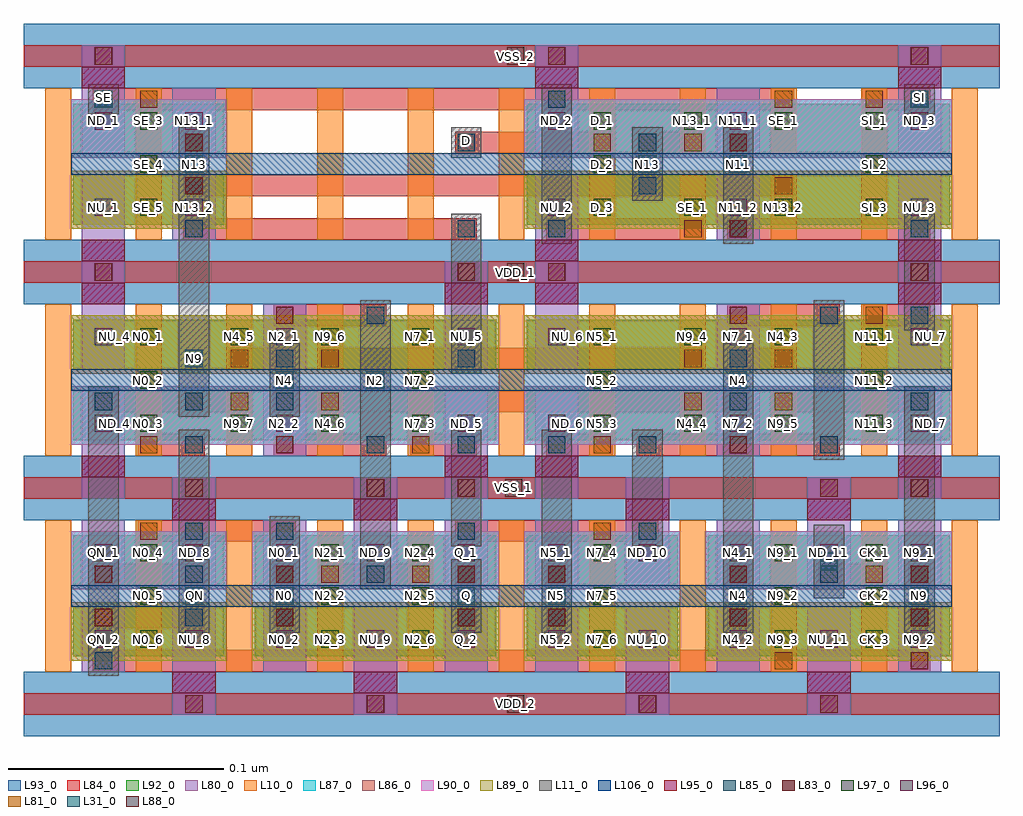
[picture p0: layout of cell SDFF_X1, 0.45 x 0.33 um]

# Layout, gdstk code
import gdstk
lib = gdstk.Library(unit=1e-6, precision=1e-09)
def R(c, l, rs):  # rectangles x0, y0, x1, y1
    for r in rs: c.add(gdstk.rectangle(r[:2], r[2:], *l))
def A(c, l, x, y, w, h, nx, ny, dx, dy):  # array of equal rectangles
    R(c, l, [(x+i*dx, y+j*dy, x+i*dx+w, y+j*dy+h) for i in range(nx) for j in range(ny)])
L10_0 = (10, 0)
L11_0 = (11, 0)
L31_0 = (31, 0)
L80_0 = (80, 0)
L81_0 = (81, 0)
L83_0 = (83, 0)
L84_0 = (84, 0)
L85_0 = (85, 0)
L86_0 = (86, 0)
L87_0 = (87, 0)
L88_0 = (88, 0)
L89_0 = (89, 0)
L90_0 = (90, 0)
L92_0 = (92, 0)
L93_0 = (93, 0)
L95_0 = (95, 0)
L96_0 = (96, 0)
L97_0 = (97, 0)
L106_0 = (106, 0)

sdff_x1 = lib.new_cell('SDFF_X1')
A(sdff_x1, L10_0, -0.006, 0.015, 0.012, 0.07, 11, 1, 0.042, 0)
A(sdff_x1, L10_0, 0.162, 0.115, 0.012, 0.07, 3, 1, 0.042, 0)
A(sdff_x1, L10_0, -0.006, 0.215, 0.012, 0.07, 7, 1, 0.042, 0)
R(sdff_x1, L10_0, [(-0.006,0.115,0.006,0.185), (0.036,0.115,0.048,0.185), (0.078,0.115,0.09,0.145), (0.12,0.115,0.132,0.145), (0.162,0.115,0.174,0.185), (0.288,0.115,0.3,0.145), (0.33,0.115,0.342,0.145), (0.372,0.115,0.384,0.185), (0.372,0.115,0.384,0.185), (0.414,0.115,0.426,0.185), (0.078,0.155,0.09,0.185), (0.12,0.155,0.132,0.185), (0.12,0.155,0.132,0.185), (0.288,0.155,0.3,0.185), (0.33,0.155,0.342,0.185), (0.33,0.155,0.342,0.185), (0.288,0.215,0.3,0.245), (0.33,0.215,0.342,0.245), (0.372,0.215,0.384,0.285), (0.372,0.215,0.384,0.285), (0.414,0.215,0.426,0.285), (0.288,0.255,0.3,0.285), (0.33,0.255,0.342,0.285), (0.33,0.255,0.342,0.285)])
R(sdff_x1, L11_0, [(0.014,0.013,0.028,0.147), (0.056,0.033,0.07,0.067), (0.098,0.033,0.112,0.067), (0.098,0.033,0.112,0.087), (0.182,0.033,0.196,0.067), (0.182,0.033,0.196,0.067), (0.224,0.033,0.238,0.067), (0.224,0.033,0.238,0.067), (0.308,0.033,0.322,0.067), (0.308,0.033,0.322,0.067), (0.392,0.033,0.406,0.067), (0.392,0.033,0.406,0.147), (0.35,0.049,0.364,0.083), (0.14,0.053,0.154,0.187), (0.224,0.065,0.238,0.127), (0.308,0.066,0.322,0.143), (0.056,0.073,0.07,0.127), (0.182,0.073,0.196,0.127), (0.266,0.073,0.28,0.127), (0.35,0.113,0.364,0.187), (0.056,0.133,0.07,0.227), (0.098,0.133,0.112,0.167), (0.098,0.133,0.112,0.167), (0.14,0.133,0.154,0.167), (0.308,0.133,0.322,0.167), (0.308,0.133,0.322,0.167), (0.182,0.153,0.196,0.227), (0.392,0.173,0.406,0.227), (0.224,0.213,0.238,0.287), (0.308,0.213,0.322,0.267), (0.056,0.233,0.07,0.267), (0.266,0.233,0.28,0.267), (0.182,0.253,0.196,0.267), (0.014,0.273,0.028,0.287), (0.392,0.273,0.406,0.287)])
A(sdff_x1, L31_0, 0.227, 0.046, 0.008, 0.008, 3, 1, 0.084, 0)
R(sdff_x1, L31_0, [(0.059,0.046,0.067,0.054), (0.101,0.046,0.109,0.054), (0.185,0.046,0.193,0.054), (0.353,0.062,0.361,0.07), (0.101,0.146,0.109,0.154), (0.143,0.146,0.151,0.154), (0.311,0.146,0.319,0.154), (0.059,0.156,0.067,0.164), (0.059,0.246,0.067,0.254), (0.269,0.246,0.277,0.254), (0.311,0.246,0.319,0.254), (0.017,0.276,0.025,0.284), (0.395,0.276,0.403,0.284)])
A(sdff_x1, L80_0, 0.011, 0.015, 0.02, 0.03, 10, 2, 0.042, 0.04)
A(sdff_x1, L80_0, 0.011, 0.115, 0.02, 0.03, 3, 2, 0.084, 0.04)
A(sdff_x1, L80_0, 0.221, 0.115, 0.02, 0.03, 3, 2, 0.084, 0.04)
A(sdff_x1, L80_0, 0.011, 0.175, 0.02, 0.03, 1, 3, 0, 0.02)
A(sdff_x1, L80_0, 0.221, 0.215, 0.02, 0.03, 3, 2, 0.084, 0.04)
R(sdff_x1, L80_0, [(0.053,-0.005,0.073,0.025), (0.137,-0.005,0.157,0.025), (0.263,-0.005,0.283,0.025), (0.347,-0.005,0.367,0.025), (0.053,0.075,0.073,0.105), (0.137,0.075,0.157,0.105), (0.263,0.075,0.283,0.105), (0.347,0.075,0.367,0.105), (0.011,0.095,0.031,0.125), (0.179,0.095,0.199,0.125), (0.221,0.095,0.241,0.125), (0.389,0.095,0.409,0.125), (0.179,0.175,0.199,0.205), (0.221,0.175,0.241,0.205), (0.389,0.175,0.409,0.205), (0.221,0.195,0.241,0.225), (0.221,0.195,0.241,0.225), (0.389,0.195,0.409,0.225), (0.053,0.215,0.073,0.245), (0.011,0.255,0.031,0.285), (0.053,0.255,0.073,0.285), (0.011,0.275,0.031,0.305), (0.221,0.275,0.241,0.305), (0.389,0.275,0.409,0.305)])
R(sdff_x1, L81_0, [(0.332,0.016,0.34,0.024), (0.122,0.056,0.13,0.064), (0.164,0.056,0.172,0.064), (0.374,0.056,0.382,0.064), (0.038,0.076,0.046,0.084), (0.248,0.076,0.256,0.084), (0.038,0.116,0.046,0.124), (0.038,0.116,0.046,0.124), (0.164,0.116,0.172,0.124), (0.248,0.116,0.256,0.124), (0.248,0.116,0.256,0.124), (0.248,0.116,0.256,0.124), (0.08,0.136,0.088,0.144), (0.122,0.136,0.13,0.144), (0.122,0.136,0.13,0.144), (0.29,0.136,0.298,0.144), (0.332,0.136,0.34,0.144), (0.08,0.156,0.088,0.164), (0.08,0.156,0.088,0.164), (0.122,0.156,0.13,0.164), (0.29,0.156,0.298,0.164), (0.332,0.156,0.34,0.164), (0.332,0.156,0.34,0.164), (0.374,0.176,0.382,0.184), (0.29,0.216,0.298,0.224), (0.29,0.216,0.298,0.224), (0.332,0.236,0.34,0.244), (0.332,0.236,0.34,0.244), (0.248,0.256,0.256,0.264), (0.29,0.256,0.298,0.264), (0.038,0.276,0.046,0.284), (0.332,0.276,0.34,0.284), (0.374,0.276,0.382,0.284)])
A(sdff_x1, L83_0, 0.101, 0.056, 0.008, 0.008, 1, 3, 0, 0.06)
A(sdff_x1, L83_0, 0.311, 0.056, 0.008, 0.008, 1, 3, 0, 0.06)
R(sdff_x1, L83_0, [(0.059,-0.004,0.067,0.004), (0.143,-0.004,0.151,0.004), (0.269,-0.004,0.277,0.004), (0.353,-0.004,0.361,0.004), (0.353,-0.004,0.361,0.004), (0.353,-0.004,0.361,0.004), (0.353,-0.004,0.361,0.004), (0.395,0.016,0.403,0.024), (0.395,0.016,0.403,0.024), (0.017,0.036,0.025,0.044), (0.017,0.036,0.025,0.044), (0.101,0.036,0.109,0.044), (0.101,0.036,0.109,0.044), (0.185,0.036,0.193,0.044), (0.185,0.036,0.193,0.044), (0.227,0.036,0.235,0.044), (0.227,0.036,0.235,0.044), (0.311,0.036,0.319,0.044), (0.311,0.036,0.319,0.044), (0.395,0.036,0.403,0.044), (0.395,0.036,0.403,0.044), (0.017,0.056,0.025,0.064), (0.017,0.056,0.025,0.064), (0.101,0.056,0.109,0.064), (0.185,0.056,0.193,0.064), (0.185,0.056,0.193,0.064), (0.227,0.056,0.235,0.064), (0.227,0.056,0.235,0.064), (0.311,0.056,0.319,0.064), (0.395,0.056,0.403,0.064), (0.059,0.096,0.067,0.104), (0.143,0.096,0.151,0.104), (0.143,0.096,0.151,0.104), (0.143,0.096,0.151,0.104), (0.143,0.096,0.151,0.104), (0.185,0.096,0.193,0.104), (0.185,0.096,0.193,0.104), (0.185,0.096,0.193,0.104), (0.185,0.096,0.193,0.104), (0.353,0.096,0.361,0.104), (0.395,0.096,0.403,0.104), (0.395,0.096,0.403,0.104), (0.395,0.096,0.403,0.104), (0.395,0.096,0.403,0.104), (0.017,0.196,0.025,0.204), (0.017,0.196,0.025,0.204), (0.185,0.196,0.193,0.204), (0.227,0.196,0.235,0.204), (0.227,0.196,0.235,0.204), (0.227,0.196,0.235,0.204), (0.395,0.196,0.403,0.204), (0.395,0.196,0.403,0.204), (0.311,0.216,0.319,0.224), (0.059,0.236,0.067,0.244), (0.059,0.256,0.067,0.264), (0.311,0.256,0.319,0.264), (0.017,0.296,0.025,0.304), (0.227,0.296,0.235,0.304), (0.395,0.296,0.403,0.304)])
A(sdff_x1, L84_0, -0.016, -0.005, 0.452, 0.01, 1, 4, 0, 0.1)
A(sdff_x1, L84_0, 0.016, 0.055, 0.01, 0.01, 3, 1, 0.084, 0)
R(sdff_x1, L84_0, [(0.016,0.015,0.341,0.025), (0.331,0.015,0.404,0.025), (0.016,0.035,0.068,0.045), (0.1,0.035,0.11,0.045), (0.1,0.035,0.11,0.045), (0.184,0.035,0.194,0.045), (0.184,0.035,0.194,0.045), (0.226,0.035,0.236,0.045), (0.31,0.035,0.32,0.045), (0.31,0.035,0.32,0.045), (0.394,0.035,0.404,0.045), (0.394,0.035,0.404,0.045), (0.016,0.055,0.068,0.065), (0.121,0.055,0.173,0.065), (0.184,0.055,0.194,0.065), (0.226,0.055,0.236,0.065), (0.226,0.055,0.236,0.065), (0.31,0.055,0.32,0.065), (0.31,0.055,0.32,0.065), (0.352,0.055,0.383,0.065), (0.394,0.055,0.404,0.065), (0.037,0.075,0.089,0.085), (0.058,0.075,0.11,0.085), (0.184,0.075,0.257,0.085), (0.205,0.075,0.278,0.085), (0.037,0.115,0.068,0.125), (0.1,0.115,0.152,0.125), (0.163,0.115,0.194,0.125), (0.226,0.115,0.257,0.125), (0.268,0.115,0.362,0.125), (0.016,0.135,0.089,0.145), (0.1,0.135,0.29,0.145), (0.289,0.135,0.32,0.145), (0.331,0.135,0.404,0.145), (0.079,0.155,0.11,0.165), (0.121,0.155,0.299,0.165), (0.31,0.155,0.341,0.165), (0.1,0.175,0.152,0.185), (0.31,0.175,0.362,0.185), (0.373,0.175,0.404,0.185), (0.058,0.215,0.194,0.225), (0.226,0.215,0.299,0.225), (0.31,0.215,0.404,0.225), (0.058,0.235,0.068,0.245), (0.058,0.235,0.278,0.245), (0.268,0.235,0.341,0.245), (0.058,0.255,0.068,0.265), (0.184,0.255,0.257,0.265), (0.268,0.255,0.299,0.265), (0.31,0.255,0.32,0.265), (0.016,0.275,0.047,0.285), (0.037,0.275,0.341,0.285), (0.372,0.275,0.404,0.285)])
A(sdff_x1, L85_0, 0.059, 0.036, 0.008, 0.008, 1, 3, 0, 0.02)
A(sdff_x1, L85_0, 0.101, 0.036, 0.008, 0.008, 1, 3, 0, 0.02)
A(sdff_x1, L85_0, 0.185, 0.036, 0.008, 0.008, 1, 3, 0, 0.02)
A(sdff_x1, L85_0, 0.101, 0.056, 0.008, 0.008, 3, 1, 0.042, 0)
A(sdff_x1, L85_0, 0.311, 0.056, 0.008, 0.008, 3, 1, 0.042, 0)
A(sdff_x1, L85_0, 0.143, 0.116, 0.008, 0.008, 4, 1, 0.042, 0)
A(sdff_x1, L85_0, 0.017, 0.136, 0.008, 0.008, 3, 1, 0.042, 0)
A(sdff_x1, L85_0, 0.059, 0.216, 0.008, 0.008, 1, 3, 0, 0.02)
A(sdff_x1, L85_0, 0.227, 0.216, 0.008, 0.008, 3, 1, 0.084, 0)
R(sdff_x1, L85_0, [(0.017,0.016,0.025,0.024), (0.101,0.036,0.109,0.044), (0.185,0.036,0.193,0.044), (0.227,0.036,0.235,0.044), (0.227,0.036,0.235,0.044), (0.311,0.036,0.319,0.044), (0.311,0.036,0.319,0.044), (0.395,0.036,0.403,0.044), (0.395,0.036,0.403,0.044), (0.227,0.056,0.235,0.064), (0.227,0.056,0.235,0.064), (0.311,0.056,0.319,0.064), (0.059,0.076,0.067,0.084), (0.185,0.076,0.193,0.084), (0.185,0.076,0.193,0.084), (0.269,0.076,0.277,0.084), (0.059,0.116,0.067,0.124), (0.353,0.116,0.361,0.124), (0.101,0.136,0.109,0.144), (0.311,0.136,0.319,0.144), (0.311,0.136,0.319,0.144), (0.395,0.136,0.403,0.144), (0.101,0.156,0.109,0.164), (0.101,0.156,0.109,0.164), (0.185,0.156,0.193,0.164), (0.311,0.156,0.319,0.164), (0.311,0.156,0.319,0.164), (0.143,0.176,0.151,0.184), (0.353,0.176,0.361,0.184), (0.395,0.176,0.403,0.184), (0.185,0.216,0.193,0.224), (0.269,0.236,0.277,0.244), (0.185,0.256,0.193,0.264), (0.185,0.256,0.193,0.264), (0.269,0.256,0.277,0.264), (0.311,0.256,0.319,0.264), (0.017,0.276,0.025,0.284), (0.017,0.276,0.025,0.284), (0.227,0.276,0.235,0.284), (0.395,0.276,0.403,0.284)])
R(sdff_x1, L86_0, [(0.006,0.02,0.078,0.047), (0.09,0.02,0.204,0.047), (0.216,0.02,0.288,0.047), (0.3,0.02,0.414,0.047), (0.006,0.153,0.204,0.18), (0.216,0.153,0.414,0.18), (0.006,0.22,0.078,0.247), (0.216,0.22,0.414,0.247)])
R(sdff_x1, L87_0, [(0.006,0.053,0.078,0.08), (0.09,0.053,0.204,0.08), (0.216,0.053,0.288,0.08), (0.3,0.053,0.414,0.08), (0.006,0.12,0.204,0.147), (0.216,0.12,0.414,0.147), (0.006,0.253,0.078,0.28), (0.216,0.253,0.414,0.28)])
R(sdff_x1, L88_0, [(0.208,-0.004,0.216,0.004), (0.207,0.096,0.215,0.104), (0.208,0.196,0.216,0.204), (0.208,0.296,0.216,0.304)])
R(sdff_x1, L89_0, [(0.006,0.02,0.078,0.047), (0.09,0.02,0.204,0.047), (0.216,0.02,0.288,0.047), (0.3,0.02,0.414,0.047), (0.006,0.153,0.204,0.18), (0.216,0.153,0.414,0.18), (0.006,0.22,0.078,0.247), (0.216,0.22,0.414,0.247)])
R(sdff_x1, L90_0, [(0.006,0.053,0.078,0.08), (0.09,0.053,0.204,0.08), (0.216,0.053,0.288,0.08), (0.3,0.053,0.414,0.08), (0.006,0.12,0.204,0.147), (0.216,0.12,0.414,0.147), (0.006,0.253,0.078,0.28), (0.216,0.253,0.414,0.28)])
R(sdff_x1, L92_0, [(0.007,0.022,0.077,0.045), (0.091,0.022,0.203,0.045), (0.217,0.022,0.287,0.045), (0.301,0.022,0.413,0.045), (0.007,0.055,0.077,0.078), (0.091,0.055,0.203,0.078), (0.217,0.055,0.287,0.078), (0.301,0.055,0.413,0.078), (0.007,0.122,0.203,0.145), (0.217,0.122,0.413,0.145), (0.007,0.155,0.203,0.178), (0.217,0.155,0.413,0.178), (0.007,0.222,0.077,0.245), (0.217,0.222,0.413,0.245), (0.007,0.255,0.077,0.278), (0.217,0.255,0.413,0.278)])
A(sdff_x1, L93_0, -0.016, -0.015, 0.452, 0.03, 1, 4, 0, 0.1)
R(sdff_x1, L95_0, [(0.053,0.005,0.073,0.015), (0.137,0.005,0.157,0.015), (0.263,0.005,0.283,0.015), (0.347,0.005,0.367,0.015), (0.053,0.085,0.073,0.095), (0.137,0.085,0.157,0.095), (0.263,0.085,0.283,0.095), (0.347,0.085,0.367,0.095), (0.011,0.105,0.031,0.115), (0.179,0.105,0.199,0.115), (0.221,0.105,0.241,0.115), (0.389,0.105,0.409,0.115), (0.011,0.185,0.031,0.195), (0.179,0.185,0.199,0.195), (0.221,0.185,0.241,0.195), (0.389,0.185,0.409,0.195), (0.011,0.205,0.031,0.215), (0.221,0.205,0.241,0.215), (0.221,0.205,0.241,0.215), (0.389,0.205,0.409,0.215), (0.011,0.285,0.031,0.295), (0.221,0.285,0.241,0.295), (0.389,0.285,0.409,0.295)])
A(sdff_x1, L96_0, 0.017, 0.026, 0.008, 0.008, 10, 2, 0.042, 0.04)
A(sdff_x1, L96_0, 0.017, 0.126, 0.008, 0.008, 3, 2, 0.084, 0.04)
A(sdff_x1, L96_0, 0.227, 0.126, 0.008, 0.008, 3, 2, 0.084, 0.04)
A(sdff_x1, L96_0, 0.227, 0.226, 0.008, 0.008, 3, 2, 0.084, 0.04)
R(sdff_x1, L96_0, [(0.017,0.226,0.025,0.234), (0.059,0.226,0.067,0.234), (0.017,0.266,0.025,0.274), (0.059,0.266,0.067,0.274)])
A(sdff_x1, L97_0, 0.038, 0.026, 0.008, 0.008, 1, 3, 0, 0.02)
A(sdff_x1, L97_0, 0.122, 0.026, 0.008, 0.008, 1, 3, 0, 0.02)
A(sdff_x1, L97_0, 0.164, 0.026, 0.008, 0.008, 3, 3, 0.084, 0.02)
A(sdff_x1, L97_0, 0.374, 0.026, 0.008, 0.008, 1, 3, 0, 0.02)
A(sdff_x1, L97_0, 0.038, 0.126, 0.008, 0.008, 4, 2, 0.042, 0.04)
A(sdff_x1, L97_0, 0.248, 0.126, 0.008, 0.008, 4, 2, 0.042, 0.04)
A(sdff_x1, L97_0, 0.038, 0.226, 0.008, 0.008, 1, 3, 0, 0.02)
A(sdff_x1, L97_0, 0.248, 0.226, 0.008, 0.008, 4, 2, 0.042, 0.04)
R(sdff_x1, L97_0, [(0.038,0.146,0.046,0.154), (0.164,0.146,0.172,0.154), (0.248,0.146,0.256,0.154), (0.374,0.146,0.382,0.154), (0.248,0.246,0.256,0.254), (0.374,0.246,0.382,0.254)])
A(sdff_x1, L106_0, 0.006, 0.045, 0.408, 0.01, 1, 3, 0, 0.1)
sdff_x1.add(gdstk.Label('N13_2', (0.336,0.23), layer=97, texttype=0))
sdff_x1.add(gdstk.Label('N11_2', (0.378,0.15), layer=97, texttype=0))
sdff_x1.add(gdstk.Label('N9_5', (0.336,0.13), layer=97, texttype=0))
sdff_x1.add(gdstk.Label('N4_3', (0.336,0.17), layer=97, texttype=0))
sdff_x1.add(gdstk.Label('N9_4', (0.294,0.17), layer=97, texttype=0))
sdff_x1.add(gdstk.Label('N4_4', (0.294,0.13), layer=97, texttype=0))
sdff_x1.add(gdstk.Label('N5_2', (0.252,0.15), layer=97, texttype=0))
sdff_x1.add(gdstk.Label('N4_5', (0.084,0.17), layer=97, texttype=0))
sdff_x1.add(gdstk.Label('N7_2', (0.168,0.15), layer=97, texttype=0))
sdff_x1.add(gdstk.Label('N9_7', (0.084,0.13), layer=97, texttype=0))
sdff_x1.add(gdstk.Label('N9_2', (0.336,0.05), layer=97, texttype=0))
sdff_x1.add(gdstk.Label('N9_6', (0.126,0.17), layer=97, texttype=0))
sdff_x1.add(gdstk.Label('CK_2', (0.378,0.05), layer=97, texttype=0))
sdff_x1.add(gdstk.Label('N0_5', (0.042,0.05), layer=97, texttype=0))
sdff_x1.add(gdstk.Label('N2_2', (0.126,0.05), layer=97, texttype=0))
sdff_x1.add(gdstk.Label('SE_5', (0.042,0.23), layer=97, texttype=0))
sdff_x1.add(gdstk.Label('SE_3', (0.042,0.27), layer=97, texttype=0))
sdff_x1.add(gdstk.Label('D_3', (0.252,0.23), layer=97, texttype=0))
sdff_x1.add(gdstk.Label('D_1', (0.252,0.27), layer=97, texttype=0))
sdff_x1.add(gdstk.Label('SI_1', (0.378,0.27), layer=97, texttype=0))
sdff_x1.add(gdstk.Label('SI_3', (0.378,0.23), layer=97, texttype=0))
sdff_x1.add(gdstk.Label('N11_1', (0.378,0.17), layer=97, texttype=0))
sdff_x1.add(gdstk.Label('N11_3', (0.378,0.13), layer=97, texttype=0))
sdff_x1.add(gdstk.Label('N5_1', (0.252,0.17), layer=97, texttype=0))
sdff_x1.add(gdstk.Label('N5_3', (0.252,0.13), layer=97, texttype=0))
sdff_x1.add(gdstk.Label('N7_3', (0.168,0.13), layer=97, texttype=0))
sdff_x1.add(gdstk.Label('N7_1', (0.168,0.17), layer=97, texttype=0))
sdff_x1.add(gdstk.Label('N0_1', (0.042,0.17), layer=97, texttype=0))
sdff_x1.add(gdstk.Label('N0_3', (0.042,0.13), layer=97, texttype=0))
sdff_x1.add(gdstk.Label('N0_4', (0.042,0.07), layer=97, texttype=0))
sdff_x1.add(gdstk.Label('N0_6', (0.042,0.03), layer=97, texttype=0))
sdff_x1.add(gdstk.Label('N2_3', (0.126,0.03), layer=97, texttype=0))
sdff_x1.add(gdstk.Label('N2_1', (0.126,0.07), layer=97, texttype=0))
sdff_x1.add(gdstk.Label('N2_6', (0.168,0.03), layer=97, texttype=0))
sdff_x1.add(gdstk.Label('N2_4', (0.168,0.07), layer=97, texttype=0))
sdff_x1.add(gdstk.Label('N7_4', (0.252,0.07), layer=97, texttype=0))
sdff_x1.add(gdstk.Label('N7_6', (0.252,0.03), layer=97, texttype=0))
sdff_x1.add(gdstk.Label('N9_1', (0.336,0.07), layer=97, texttype=0))
sdff_x1.add(gdstk.Label('N9_3', (0.336,0.03), layer=97, texttype=0))
sdff_x1.add(gdstk.Label('CK_1', (0.378,0.07), layer=97, texttype=0))
sdff_x1.add(gdstk.Label('CK_3', (0.378,0.03), layer=97, texttype=0))
sdff_x1.add(gdstk.Label('N4_6', (0.126,0.13), layer=97, texttype=0))
sdff_x1.add(gdstk.Label('N2_5', (0.168,0.05), layer=97, texttype=0))
sdff_x1.add(gdstk.Label('SE_1', (0.336,0.27), layer=97, texttype=0))
sdff_x1.add(gdstk.Label('N7_5', (0.252,0.05), layer=97, texttype=0))
sdff_x1.add(gdstk.Label('N0_2', (0.042,0.15), layer=97, texttype=0))
sdff_x1.add(gdstk.Label('SI_2', (0.378,0.25), layer=97, texttype=0))
sdff_x1.add(gdstk.Label('N13_1', (0.294,0.27), layer=97, texttype=0))
sdff_x1.add(gdstk.Label('SE_1', (0.294,0.23), layer=97, texttype=0))
sdff_x1.add(gdstk.Label('D_2', (0.252,0.25), layer=97, texttype=0))
sdff_x1.add(gdstk.Label('SE_4', (0.042,0.25), layer=97, texttype=0))
sdff_x1.add(gdstk.Label('NU_1', (0.021,0.23), layer=96, texttype=0))
sdff_x1.add(gdstk.Label('ND_3', (0.399,0.27), layer=96, texttype=0))
sdff_x1.add(gdstk.Label('NU_3', (0.399,0.23), layer=96, texttype=0))
sdff_x1.add(gdstk.Label('ND_2', (0.231,0.27), layer=96, texttype=0))
sdff_x1.add(gdstk.Label('NU_2', (0.231,0.23), layer=96, texttype=0))
sdff_x1.add(gdstk.Label('N11_1', (0.315,0.27), layer=96, texttype=0))
sdff_x1.add(gdstk.Label('N11_2', (0.315,0.23), layer=96, texttype=0))
sdff_x1.add(gdstk.Label('ND_5', (0.189,0.13), layer=96, texttype=0))
sdff_x1.add(gdstk.Label('NU_5', (0.189,0.17), layer=96, texttype=0))
sdff_x1.add(gdstk.Label('NU_9', (0.147,0.03), layer=96, texttype=0))
sdff_x1.add(gdstk.Label('N9_2', (0.399,0.03), layer=96, texttype=0))
sdff_x1.add(gdstk.Label('N9_1', (0.399,0.07), layer=96, texttype=0))
sdff_x1.add(gdstk.Label('NU_11', (0.357,0.03), layer=96, texttype=0))
sdff_x1.add(gdstk.Label('ND_11', (0.357,0.07), layer=96, texttype=0))
sdff_x1.add(gdstk.Label('Q_2', (0.189,0.03), layer=96, texttype=0))
sdff_x1.add(gdstk.Label('N0_2', (0.105,0.03), layer=96, texttype=0))
sdff_x1.add(gdstk.Label('ND_9', (0.147,0.07), layer=96, texttype=0))
sdff_x1.add(gdstk.Label('ND_8', (0.063,0.07), layer=96, texttype=0))
sdff_x1.add(gdstk.Label('N0_1', (0.105,0.07), layer=96, texttype=0))
sdff_x1.add(gdstk.Label('NU_4', (0.026,0.17), layer=96, texttype=0))
sdff_x1.add(gdstk.Label('N2_1', (0.105,0.17), layer=96, texttype=0))
sdff_x1.add(gdstk.Label('N2_2', (0.105,0.13), layer=96, texttype=0))
sdff_x1.add(gdstk.Label('ND_10', (0.273,0.07), layer=96, texttype=0))
sdff_x1.add(gdstk.Label('NU_10', (0.273,0.03), layer=96, texttype=0))
sdff_x1.add(gdstk.Label('ND_4', (0.026,0.13), layer=96, texttype=0))
sdff_x1.add(gdstk.Label('QN_1', (0.021,0.07), layer=96, texttype=0))
sdff_x1.add(gdstk.Label('QN_2', (0.021,0.03), layer=96, texttype=0))
sdff_x1.add(gdstk.Label('N5_1', (0.231,0.07), layer=96, texttype=0))
sdff_x1.add(gdstk.Label('N5_2', (0.231,0.03), layer=96, texttype=0))
sdff_x1.add(gdstk.Label('N7_2', (0.315,0.13), layer=96, texttype=0))
sdff_x1.add(gdstk.Label('N7_1', (0.315,0.17), layer=96, texttype=0))
sdff_x1.add(gdstk.Label('ND_6', (0.236,0.13), layer=96, texttype=0))
sdff_x1.add(gdstk.Label('NU_6', (0.236,0.17), layer=96, texttype=0))
sdff_x1.add(gdstk.Label('Q_1', (0.189,0.07), layer=96, texttype=0))
sdff_x1.add(gdstk.Label('NU_8', (0.063,0.03), layer=96, texttype=0))
sdff_x1.add(gdstk.Label('ND_7', (0.404,0.13), layer=96, texttype=0))
sdff_x1.add(gdstk.Label('NU_7', (0.404,0.17), layer=96, texttype=0))
sdff_x1.add(gdstk.Label('N13_2', (0.063,0.23), layer=96, texttype=0))
sdff_x1.add(gdstk.Label('N13_1', (0.063,0.27), layer=96, texttype=0))
sdff_x1.add(gdstk.Label('N4_1', (0.315,0.07), layer=96, texttype=0))
sdff_x1.add(gdstk.Label('N4_2', (0.315,0.03), layer=96, texttype=0))
sdff_x1.add(gdstk.Label('ND_1', (0.021,0.27), layer=96, texttype=0))
sdff_x1.add(gdstk.Label('VSS_1', (0.211,0.1), layer=88, texttype=0))
sdff_x1.add(gdstk.Label('VDD_2', (0.212,0), layer=88, texttype=0))
sdff_x1.add(gdstk.Label('VDD_1', (0.212,0.2), layer=88, texttype=0))
sdff_x1.add(gdstk.Label('VSS_2', (0.212,0.3), layer=88, texttype=0))
sdff_x1.add(gdstk.Label('SI', (0.399,0.281), layer=31, texttype=0))
sdff_x1.add(gdstk.Label('SE', (0.021,0.281), layer=31, texttype=0))
sdff_x1.add(gdstk.Label('D', (0.189,0.261), layer=31, texttype=0))
sdff_x1.add(gdstk.Label('N13', (0.063,0.25), layer=31, texttype=0))
sdff_x1.add(gdstk.Label('N13', (0.273,0.25), layer=31, texttype=0))
sdff_x1.add(gdstk.Label('N11', (0.315,0.25), layer=31, texttype=0))
sdff_x1.add(gdstk.Label('N2', (0.147,0.15), layer=31, texttype=0))
sdff_x1.add(gdstk.Label('N4', (0.105,0.15), layer=31, texttype=0))
sdff_x1.add(gdstk.Label('N4', (0.315,0.05), layer=31, texttype=0))
sdff_x1.add(gdstk.Label('N9', (0.399,0.05), layer=31, texttype=0))
sdff_x1.add(gdstk.Label('CK', (0.357,0.066), layer=31, texttype=0))
sdff_x1.add(gdstk.Label('N4', (0.315,0.15), layer=31, texttype=0))
sdff_x1.add(gdstk.Label('QN', (0.063,0.05), layer=31, texttype=0))
sdff_x1.add(gdstk.Label('N5', (0.231,0.05), layer=31, texttype=0))
sdff_x1.add(gdstk.Label('N9', (0.063,0.16), layer=31, texttype=0))
sdff_x1.add(gdstk.Label('N0', (0.105,0.05), layer=31, texttype=0))
sdff_x1.add(gdstk.Label('Q', (0.189,0.05), layer=31, texttype=0))

lib.write_gds('SDFF_X1.gds')
